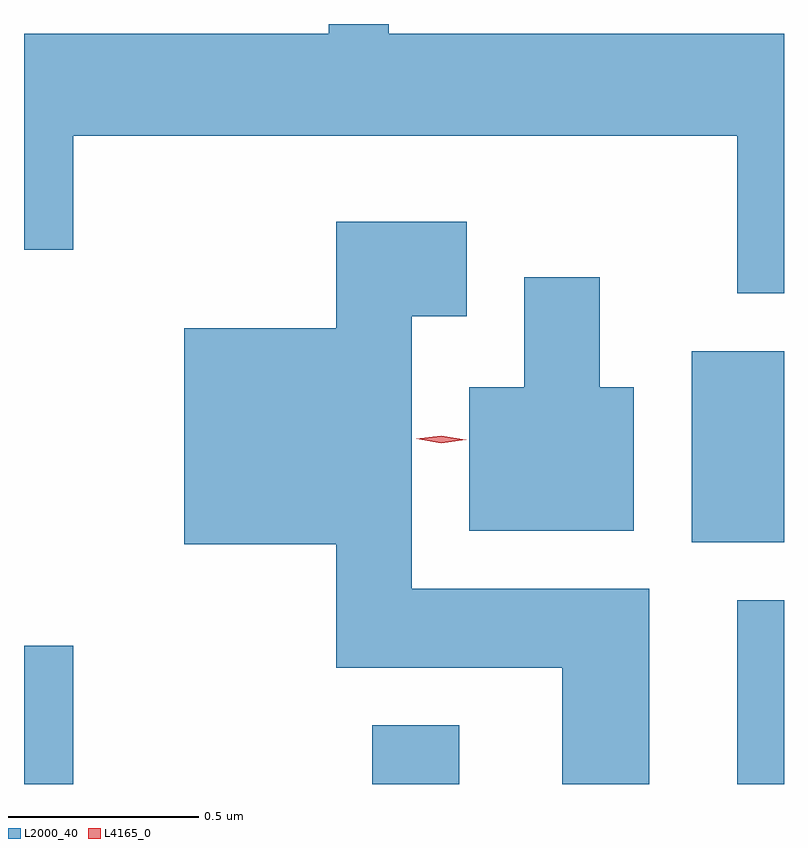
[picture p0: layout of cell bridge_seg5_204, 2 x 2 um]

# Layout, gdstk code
import gdstk
lib = gdstk.Library(unit=1e-6, precision=1e-09)
def R(c, l, rs):  # rectangles x0, y0, x1, y1
    for r in rs: c.add(gdstk.rectangle(r[:2], r[2:], *l))
def P(c, l, *ps):  # polygons
    for p in ps: c.add(gdstk.Polygon(p, *l))
L2000_40 = (2000, 40)
L4165_0 = (4165, 0)

bridge_seg5_204 = lib.new_cell('bridge_seg5_204')
R(bridge_seg5_204, L2000_40, [(1314.114,1408.47,1314.244,1408.834), (1315.031,1408.47,1315.259,1408.624), (1315.991,1408.47,1316.114,1408.954), (1315.871,1409.106,1316.114,1409.609)])
P(bridge_seg5_204, L2000_40, [(1316.114,1410.444),(1315.074,1410.444),(1315.074,1410.47),(1314.916,1410.47),(1314.916,1410.444),(1314.114,1410.444),(1314.114,1409.876),(1314.244,1409.876),(1314.244,1410.176),(1315.991,1410.176),(1315.991,1409.761),(1316.114,1409.761)],
  [(1315.759,1408.984),(1315.134,1408.984),(1315.134,1409.701),(1315.279,1409.701),(1315.279,1409.949),(1314.936,1409.949),(1314.936,1409.669),(1314.536,1409.669),(1314.536,1409.101),(1314.936,1409.101),(1314.936,1408.776),(1315.531,1408.776),(1315.531,1408.47),(1315.759,1408.47)],
  [(1315.719,1409.514),(1315.629,1409.514),(1315.629,1409.804),(1315.431,1409.804),(1315.431,1409.514),(1315.286,1409.514),(1315.286,1409.136),(1315.719,1409.136)])
P(bridge_seg5_204, L4165_0, [(1315.212,1409.367),(1315.146,1409.378),(1315.146,1409.378),(1315.146,1409.379),(1315.212,1409.387),(1315.277,1409.376),(1315.278,1409.376),(1315.277,1409.376)])

lib.write_gds('bridge_seg5_204.gds')
